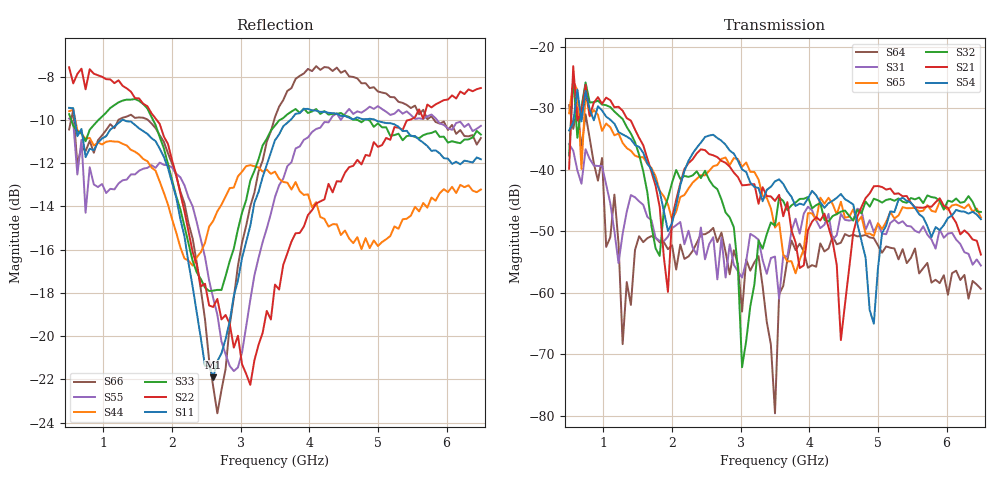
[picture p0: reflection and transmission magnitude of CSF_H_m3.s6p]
!Keysight Technologies,M9804A,MY58100912,A.14.10.03
!Date: Thursday, April 27, 2023 10:28:33
!Correction: S11(C  6-Port  )
!S12(C  6-Port  )
!S13(C  6-Port  )
!S14(C  6-Port  )
!S15(C  6-Port  )
!S16(C  6-Port  )
!S21(C  6-Port  )
!S22(C  6-Port  )
!S23(C  6-Port  )
!S24(C  6-Port  )
!S25(C  6-Port  )
!S26(C  6-Port  )
!S31(C  6-Port  )
!S32(C  6-Port  )
!S33(C  6-Port  )
!S34(C  6-Port  )
!S35(C  6-Port  )
!S36(C  6-Port  )
!S41(C  6-Port  )
!S42(C  6-Port  )
!S43(C  6-Port  )
!S44(C  6-Port  )
!S45(C  6-Port  )
!S46(C  6-Port  )
!S51(C  6-Port  )
!S52(C  6-Port  )
!S53(C  6-Port  )
!S54(C  6-Port  )
!S55(C  6-Port  )
!S56(C  6-Port  )
!S61(C  6-Port  )
!S62(C  6-Port  )
!S63(C  6-Port  )
!S64(C  6-Port  )
!S65(C  6-Port  )
!S66(C  6-Port  )
!S6P File: Measurement: :
# Hz S  RI  R 50
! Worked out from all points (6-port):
!   101 points, 500 MHz to 6.5 GHz, reference 50 ohm
!   strongest paths, dB at 500 MHz, 2 GHz, 3.5 GHz, 5 GHz, 6.5 GHz:
!     S54: -33.6, -48.7, -41.9, -56.1, -48.0
!     S21: -39.8, -47.8, -45.1, -42.6, -53.8
!     S32: -37.7, -42.1, -49.1, -45.0, -46.9
!     S65: -30.8, -48.1, -49.4, -48.7, -47.7
!     S31: -35.8, -49.5, -54.1, -48.8, -55.6
!     S64: -29.5, -52.3, -79.6, -52.3, -59.4
!   lowest |S11| = -21.9 dB at 2.6 GHz (marker M1), VSWR 1.17, Z = 42.8 + j1.86 ohm
!   |S11| at or under -10 dB: 585.2 MHz to 1.274 GHz (689.3 MHz wide, 74.1 % of centre); 1.291 GHz to 3.725 GHz (2.434 GHz wide, 97 % of centre); 4.958 GHz to end of sweep
